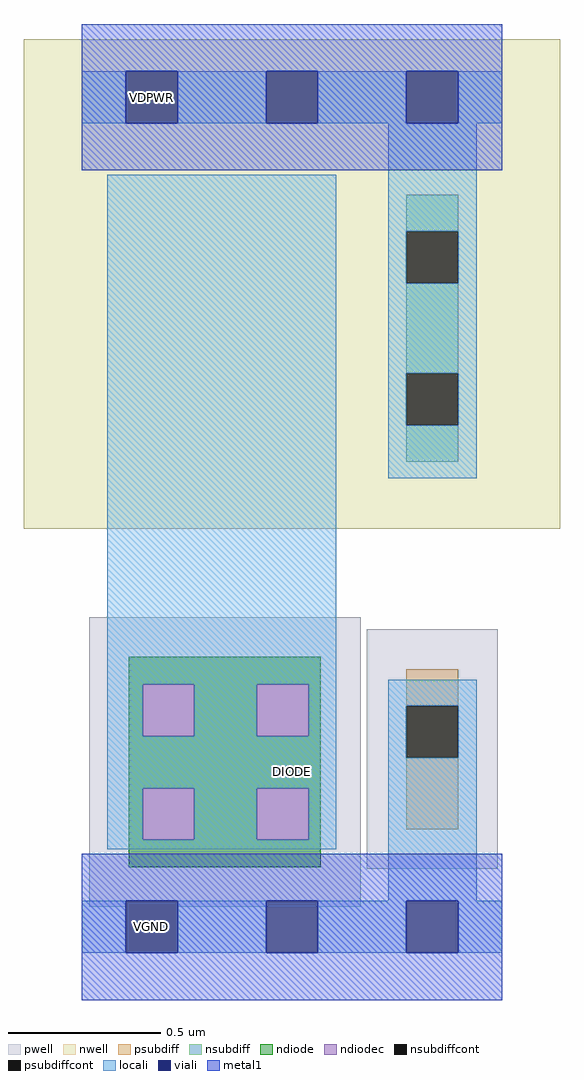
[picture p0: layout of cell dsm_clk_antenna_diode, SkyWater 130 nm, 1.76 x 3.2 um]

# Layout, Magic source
magic
tech sky130A
magscale 1 2
<< nwell >>
rect -38 261 222 582
rect 146 261 314 582
<< pwell >>
rect 5 13 183 203
rect 29 -17 63 13
rect 187 38 273 195
<< ndiode >>
rect 31 159 157 177
rect 31 125 40 159
rect 74 125 115 159
rect 149 125 157 159
rect 31 91 157 125
rect 31 57 40 91
rect 74 57 115 91
rect 149 57 157 91
rect 31 39 157 57
<< ndiodec >>
rect 40 125 74 159
rect 115 125 149 159
rect 40 57 74 91
rect 115 57 149 91
<< locali >>
rect 0 527 29 561
rect 63 527 121 561
rect 155 527 184 561
rect 17 159 167 493
rect 17 125 40 159
rect 74 125 115 159
rect 149 125 167 159
rect 17 91 167 125
rect 17 57 40 91
rect 74 57 115 91
rect 149 57 167 91
rect 17 51 167 57
rect 0 -17 29 17
rect 63 -17 121 17
rect 155 -17 184 17
rect 184 527 213 561
rect 247 527 276 561
rect 201 456 259 527
rect 201 422 213 456
rect 247 422 259 456
rect 201 363 259 422
rect 201 329 213 363
rect 247 329 259 363
rect 201 294 259 329
rect 201 145 259 162
rect 201 111 213 145
rect 247 111 259 145
rect 201 17 259 111
rect 184 -17 213 17
rect 247 -17 276 17
<< viali >>
rect 29 527 63 561
rect 121 527 155 561
rect 29 -17 63 17
rect 121 -17 155 17
rect 213 527 247 561
rect 213 -17 247 17
<< metal1 >>
rect 0 561 184 592
rect 0 527 29 561
rect 63 527 121 561
rect 155 527 184 561
rect 0 496 184 527
rect 0 17 184 48
rect 0 -17 29 17
rect 63 -17 121 17
rect 155 -17 184 17
rect 0 -48 184 -17
rect 184 561 276 592
rect 184 527 213 561
rect 247 527 276 561
rect 184 496 276 527
rect 184 17 276 48
rect 184 -17 213 17
rect 247 -17 276 17
rect 184 -48 276 -17
<< psubdiff >>
rect 213 145 247 169
rect 213 64 247 111
<< nsubdiff >>
rect 213 456 247 480
rect 213 363 247 422
rect 213 305 247 329
<< psubdiffcont >>
rect 213 111 247 145
<< nsubdiffcont >>
rect 213 422 247 456
rect 213 329 247 363
<< labels >>
flabel locali s 121 85 155 119 0 FreeSans 200 0 0 0 DIODE
port 1 nsew signal input
flabel metal1 s 29 -17 63 17 0 FreeSans 200 0 0 0 VGND
port 2 nsew ground bidirectional abutment
flabel metal1 s 29 527 63 561 0 FreeSans 200 0 0 0 VDPWR
port 3 nsew power bidirectional abutment
<< properties >>
string FIXED_BBOX 0 0 276 544
<< end >>
